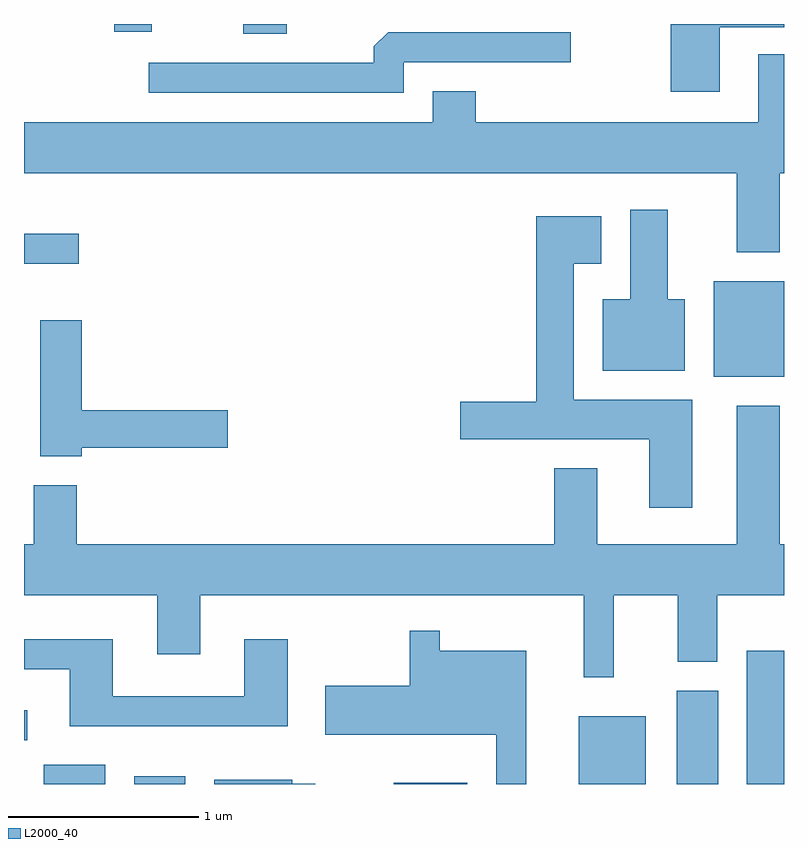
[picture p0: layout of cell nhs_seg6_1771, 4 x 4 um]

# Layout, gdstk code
import gdstk
lib = gdstk.Library(unit=1e-6, precision=1e-09)
def R(c, l, rs):  # rectangles x0, y0, x1, y1
    for r in rs: c.add(gdstk.rectangle(r[:2], r[2:], *l))
def P(c, l, *ps):  # polygons
    for p in ps: c.add(gdstk.Polygon(p, *l))
L2000_40 = (2000, 40)

nhs_seg6_1771 = lib.new_cell('nhs_seg6_1771')
R(nhs_seg6_1771, L2000_40, [(239.716,1540.162,240.039,1540.264), (240.191,1540.162,240.459,1540.204), (241.556,1540.162,241.944,1540.169), (242.531,1540.162,242.884,1540.519), (243.046,1540.162,243.264,1540.654), (243.416,1540.162,243.611,1540.864), (239.611,1540.391,239.628,1540.549), (243.241,1542.306,243.611,1542.809), (239.611,1542.901,239.898,1543.059), (240.766,1544.111,240.994,1544.162), (240.086,1544.121,240.284,1544.162)])
P(nhs_seg6_1771, L2000_40, [(243.274,1544.146),(243.611,1544.146),(243.611,1544.162),(243.016,1544.162),(243.016,1543.806),(243.274,1543.806)],
  [(241.609,1543.961),(242.488,1543.961),(242.488,1544.119),(241.527,1544.119),(241.451,1544.044),(241.451,1543.959),(240.268,1543.959),(240.268,1543.801),(241.609,1543.801)],
  [(241.989,1543.809),(241.761,1543.809),(241.761,1543.644),(239.611,1543.644),(239.611,1543.376),(243.361,1543.376),(243.361,1542.961),(243.589,1542.961),(243.589,1543.376),(243.611,1543.376),(243.611,1544.003),(243.476,1544.003),(243.476,1543.644),(241.989,1543.644)],
  [(243.089,1542.714),(242.999,1542.714),(242.999,1543.184),(242.801,1543.184),(242.801,1542.714),(242.656,1542.714),(242.656,1542.336),(243.089,1542.336)],
  [(243.129,1542.184),(242.504,1542.184),(242.504,1542.901),(242.649,1542.901),(242.649,1543.149),(242.306,1543.149),(242.306,1542.174),(241.906,1542.174),(241.906,1541.976),(242.901,1541.976),(242.901,1541.616),(243.129,1541.616)],
  [(239.914,1541.931),(240.684,1541.931),(240.684,1542.129),(239.914,1542.129),(239.914,1542.604),(239.696,1542.604),(239.696,1541.886),(239.914,1541.886)],
  [(242.629,1541.824),(242.401,1541.824),(242.401,1541.424),(239.889,1541.424),(239.889,1541.734),(239.661,1541.734),(239.661,1541.424),(239.611,1541.424),(239.611,1541.156),(240.311,1541.156),(240.311,1540.846),(240.539,1540.846),(240.539,1541.156),(242.556,1541.156),(242.556,1540.723),(242.714,1540.723),(242.714,1541.156),(243.051,1541.156),(243.051,1540.806),(243.259,1540.806),(243.259,1541.156),(243.611,1541.156),(243.611,1541.424),(243.589,1541.424),(243.589,1542.154),(243.361,1542.154),(243.361,1541.424),(242.629,1541.424)],
  [(242.254,1540.864),(241.799,1540.864),(241.799,1540.968),(241.641,1540.968),(241.641,1540.679),(241.196,1540.679),(241.196,1540.421),(242.096,1540.421),(242.096,1540.162),(242.254,1540.162)],
  [(240.999,1540.924),(240.771,1540.924),(240.771,1540.624),(240.079,1540.624),(240.079,1540.924),(239.611,1540.924),(239.611,1540.766),(239.851,1540.766),(239.851,1540.466),(240.999,1540.466)],
  [(241.144,1540.164),(241.024,1540.164),(241.024,1540.184),(240.611,1540.184),(240.611,1540.162),(241.144,1540.162)])

lib.write_gds('nhs_seg6_1771.gds')
